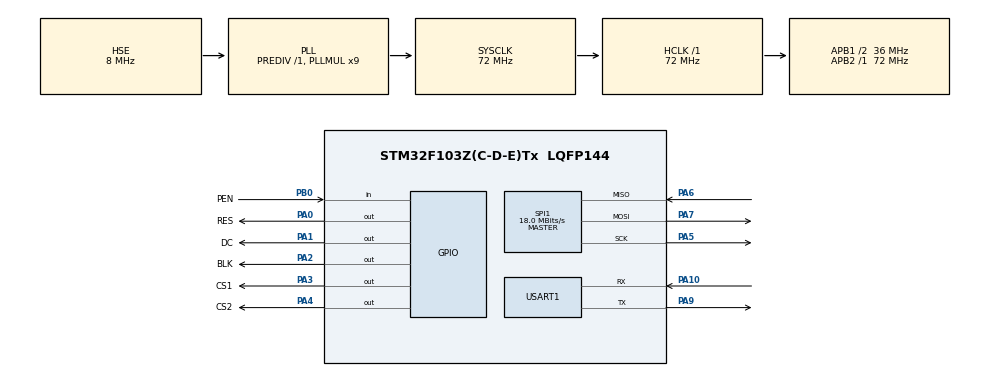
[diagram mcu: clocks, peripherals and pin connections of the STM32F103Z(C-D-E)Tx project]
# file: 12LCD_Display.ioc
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Mcu.Family=STM32F1
Mcu.Name=STM32F103Z(C-D-E)Tx
Mcu.Package=LQFP144
NVIC.PriorityGroup=NVIC_PRIORITYGROUP_4
NVIC.TIM6_IRQn=true\:0\:0\:false\:false\:true\:true\:true\:true
OSC_IN.Mode=HSE-External-Oscillator
OSC_IN.Signal=RCC_OSC_IN
OSC_OUT.Mode=HSE-External-Oscillator
OSC_OUT.Signal=RCC_OSC_OUT
PA0-WKUP.GPIO_Label=RES
PA0-WKUP.GPIO_PuPd=GPIO_PULLUP
PA0-WKUP.PinState=GPIO_PIN_SET
PA0-WKUP.Signal=GPIO_Output
PA1.GPIO_Label=DC
PA1.GPIO_PuPd=GPIO_PULLUP
PA1.PinState=GPIO_PIN_SET
PA1.Signal=GPIO_Output
PA10.Mode=Asynchronous
PA10.Signal=USART1_RX
PA13.Mode=Serial_Wire
PA13.Signal=SYS_JTMS-SWDIO
PA14.Mode=Serial_Wire
PA14.Signal=SYS_JTCK-SWCLK
PA2.GPIO_Label=BLK
PA2.GPIO_PuPd=GPIO_PULLUP
PA2.PinState=GPIO_PIN_SET
PA2.Signal=GPIO_Output
PA3.GPIO_Label=CS1
PA3.GPIO_PuPd=GPIO_PULLUP
PA3.PinState=GPIO_PIN_SET
PA3.Signal=GPIO_Output
PA4.GPIO_Label=CS2
PA4.GPIO_PuPd=GPIO_PULLUP
PA4.PinState=GPIO_PIN_SET
PA4.Signal=GPIO_Output
PA5.Mode=Full_Duplex_Master
PA5.Signal=SPI1_SCK
PA6.Mode=Full_Duplex_Master
PA6.Signal=SPI1_MISO
PA7.Mode=Full_Duplex_Master
PA7.Signal=SPI1_MOSI
PA9.Mode=Asynchronous
PA9.Signal=USART1_TX
PB0.GPIO_Label=PEN
PB0.GPIO_PuPd=GPIO_PULLUP
PB0.Signal=GPIO_Input
ProjectManager.HeapSize=0x200
ProjectManager.StackSize=0x700
ProjectManager.TargetToolchain=MDK-ARM V5.32
RCC.AHBFreq_Value=72000000
RCC.APB1CLKDivider=RCC_HCLK_DIV2
RCC.APB1Freq_Value=36000000
RCC.APB1TimFreq_Value=72000000
RCC.APB2Freq_Value=72000000
RCC.APB2TimFreq_Value=72000000
RCC.HCLKFreq_Value=72000000
RCC.PLLMUL=RCC_PLL_MUL9
RCC.PLLSourceVirtual=RCC_PLLSOURCE_HSE
RCC.SYSCLKFreq_VALUE=72000000
RCC.SYSCLKSource=RCC_SYSCLKSOURCE_PLLCLK
RCC.USBFreq_Value=72000000
SPI1.BaudRatePrescaler=SPI_BAUDRATEPRESCALER_4
SPI1.CalculateBaudRate=18.0 MBits/s
SPI1.Direction=SPI_DIRECTION_2LINES
SPI1.Mode=SPI_MODE_MASTER
SPI1.VirtualType=VM_MASTER
TIM6.AutoReloadPreload=TIM_AUTORELOAD_PRELOAD_ENABLE
TIM6.Period=999
TIM6.Prescaler=71
USART1.VirtualMode=VM_ASYNC
VP_TIM6_VS_ClockSourceINT.Mode=Enable_Timer
board=custom

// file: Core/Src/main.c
/* USER CODE BEGIN Header */
/**
  ******************************************************************************
  * @file           : main.c
  * @brief          : Main program body
  ******************************************************************************
  * @attention
  *
  * Copyright (c) 2024 STMicroelectronics.
  * All rights reserved.
  *
  * This software is licensed under terms that can be found in the LICENSE file
  * in the root directory of this software component.
  * If no LICENSE file comes with this software, it is provided AS-IS.
  *
  ******************************************************************************
  */
/* USER CODE END Header */
#include "main.h"
#include "spi.h"
#include "tim.h"
#include "usart.h"
#include "gpio.h"

/* USER CODE BEGIN Includes */
#include "lcd_init.h"
#include "lcd.h"
#include "pic.h"
#include "touch.h"
#include "lvgl.h"
#include "lv_port_disp_template.h"
#include "lv_port_indev_template.h"
#include "lv_demo_stress.h"
#include "lv_demo_widgets.h"
/* USER CODE END Includes */

void SystemClock_Config(void);

int main(void)
{

  /* USER CODE BEGIN 1 */
	u8 i,j;
	float t=0;
	u16 lastpos[2];//最后一次的数据
	lastpos[0]=0XFFFF;
	uint16_t lcd_color;
  /* USER CODE END 1 */

  /* MCU Configuration--------------------------------------------------------*/

  /* Reset of all peripherals, Initializes the Flash interface and the Systick. */
  HAL_Init();

  /* Configure the system clock */
  SystemClock_Config();

  /* Initialize all configured peripherals */
  MX_GPIO_Init();
  MX_SPI1_Init();
  MX_USART1_UART_Init();
  MX_TIM6_Init();
  /* USER CODE BEGIN 2 */
	HAL_TIM_Base_Start_IT(&htim6);

	lv_init();
	lv_port_disp_init();
	lv_port_indev_init();
	lv_demo_widgets();
	//lv_demo_stress();
//	LCD_Init();//LCD初始化
//	lcd_color = BLACK;
//	LCD_Fill(0,0,LCD_W,LCD_H,(lv_color_t *)&lcd_color);

//	TP_Init();
//	LCD_ShowString(10,LCD_H-40,"X:",RED,WHITE,16,0);
//	LCD_ShowIntNum(26,LCD_H-40,0,3,RED,WHITE,16);
//	LCD_ShowString(10,LCD_H-20,"Y:",RED,WHITE,16,0);
//	LCD_ShowIntNum(26,LCD_H-20,0,3,RED,WHITE,16);

  /* USER CODE END 2 */

  /* Infinite loop */
  /* USER CODE BEGIN WHILE */
  while (1)
  {

		lv_timer_handler();
		HAL_Delay(5);
//    tp_dev.scan(0);//扫描
// 		if(tp_dev.sta&TP_PRES_DOWN)//有按键被按下
//		{
//			HAL_Delay(1);//必要的延时,否则老认为有按键按下.
//			if((tp_dev.x[0]<(LCD_W-1)&&tp_dev.x[0]>=1)&&(tp_dev.y[0]<(LCD_H-1)&&tp_dev.y[0]>=1))
//			{
//				if(lastpos[0]==0XFFFF)
//				{
//					lastpos[0]=tp_dev.x[0];
//					lastpos[1]=tp_dev.y[0];
//				}
//				LCD_DrawRoughLine(lastpos[0],lastpos[1],tp_dev.x[0],tp_dev.y[0],BLUE);//画线
//				lastpos[0]=tp_dev.x[0];
//				lastpos[1]=tp_dev.y[0];
//				LCD_ShowString(10,LCD_H-40,"X:",RED,WHITE,16,0);
//				LCD_ShowIntNum(26,LCD_H-40,tp_dev.x[0],3,RED,WHITE,16);
//				LCD_ShowString(10,LCD_H-20,"Y:",RED,WHITE,16,0);
//				LCD_ShowIntNum(26,LCD_H-20,tp_dev.y[0],3,RED,WHITE,16);
//			}
//		}

    /* USER CODE END WHILE */

  }
}

void SystemClock_Config(void)
{
  RCC_OscInitTypeDef RCC_OscInitStruct = {0};
  RCC_ClkInitTypeDef RCC_ClkInitStruct = {0};

  /** Initializes the RCC Oscillators according to the specified parameters
  * in the RCC_OscInitTypeDef structure.
  */
  RCC_OscInitStruct.OscillatorType = RCC_OSCILLATORTYPE_HSE;
  RCC_OscInitStruct.HSEState = RCC_HSE_ON;
  RCC_OscInitStruct.HSEPredivValue = RCC_HSE_PREDIV_DIV1;
  RCC_OscInitStruct.HSIState = RCC_HSI_ON;
  RCC_OscInitStruct.PLL.PLLState = RCC_PLL_ON;
  RCC_OscInitStruct.PLL.PLLSource = RCC_PLLSOURCE_HSE;
  RCC_OscInitStruct.PLL.PLLMUL = RCC_PLL_MUL9;
  if (HAL_RCC_OscConfig(&RCC_OscInitStruct) != HAL_OK)
  {
    Error_Handler();
  }

  /** Initializes the CPU, AHB and APB buses clocks
  */
  RCC_ClkInitStruct.ClockType = RCC_CLOCKTYPE_HCLK|RCC_CLOCKTYPE_SYSCLK
                              |RCC_CLOCKTYPE_PCLK1|RCC_CLOCKTYPE_PCLK2;
  RCC_ClkInitStruct.SYSCLKSource = RCC_SYSCLKSOURCE_PLLCLK;
  RCC_ClkInitStruct.AHBCLKDivider = RCC_SYSCLK_DIV1;
  RCC_ClkInitStruct.APB1CLKDivider = RCC_HCLK_DIV2;
  RCC_ClkInitStruct.APB2CLKDivider = RCC_HCLK_DIV1;

  if (HAL_RCC_ClockConfig(&RCC_ClkInitStruct, FLASH_LATENCY_2) != HAL_OK)
  {
    Error_Handler();
  }
}

/* USER CODE BEGIN 4 */
void HAL_TIM_PeriodElapsedCallback(TIM_HandleTypeDef *htim)
{
	if (htim->Instance == TIM6)
	{
	 	lv_tick_inc(1);
	}

}
/* USER CODE END 4 */

void Error_Handler(void)
{
  __disable_irq();
  while (1)
  {
  }
}
